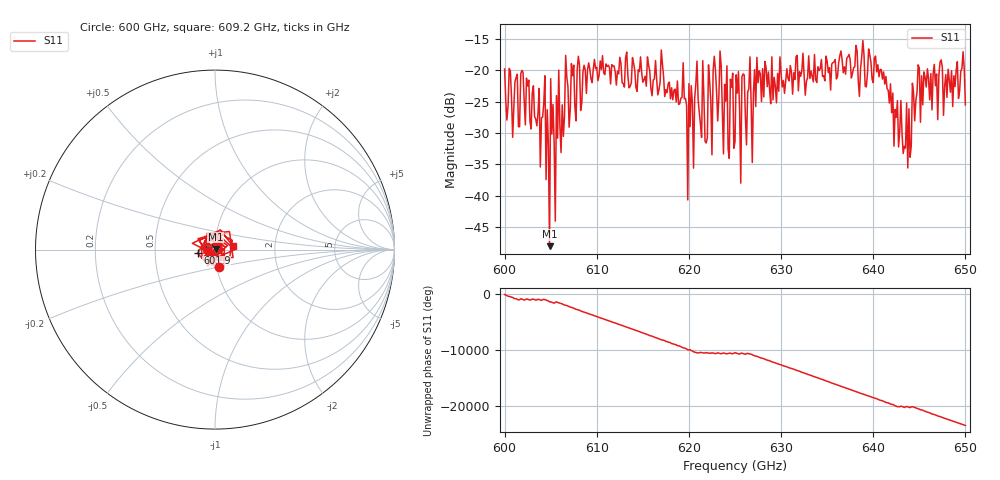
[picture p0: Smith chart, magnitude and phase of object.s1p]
!Created with skrf (http://scikit-rf.org).
# GHz S MA R 50.0
!freq magS11 angS11
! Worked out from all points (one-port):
!   401 points, 600 GHz to 650 GHz, reference 50 ohm
!   lowest |S11| = -48.0 dB at 604.9 GHz (marker M1), VSWR 1.01, Z = 50.3 + j0.279 ohm
!   |S11| at or under -10 dB: start of sweep to end of sweep
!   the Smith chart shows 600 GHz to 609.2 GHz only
!   S11 on the Smith chart (normalised r, x): 600 GHz: 1.03, -0.21; 601.9 GHz: 0.82, -0.03; 609.2 GHz: 1.22, +0.05
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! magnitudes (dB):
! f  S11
! 600 GHz  -19.8
! 601.9 GHz  -20.0
! 604.4 GHz  -20.9
! 604.6 GHz  -26.3
! 604.9 GHz  -48.0
! 606.2 GHz  -25.5
! 606.6 GHz  -17.7
! 609.2 GHz  -19.9
! 612.5 GHz  -18.0
! 617 GHz  -16.8
! 618.8 GHz  -21.7
! 619.5 GHz  -24.6
! 619.9 GHz  -40.6
! 620.9 GHz  -18.6
! 621.9 GHz  -31.6
! 622.9 GHz  -19.9
! 624 GHz  -24.9
! 625 GHz  -31.4
! 627 GHz  -23.6
! 627.4 GHz  -18.0
! 631.2 GHz  -23.8
! 637.5 GHz  -18.4
! 640.4 GHz  -20.3
! 643.8 GHz  -35.6
! 644.8 GHz  -23.6
! 645.8 GHz  -22.7
! 649.6 GHz  -19.7
! 650 GHz  -25.5
